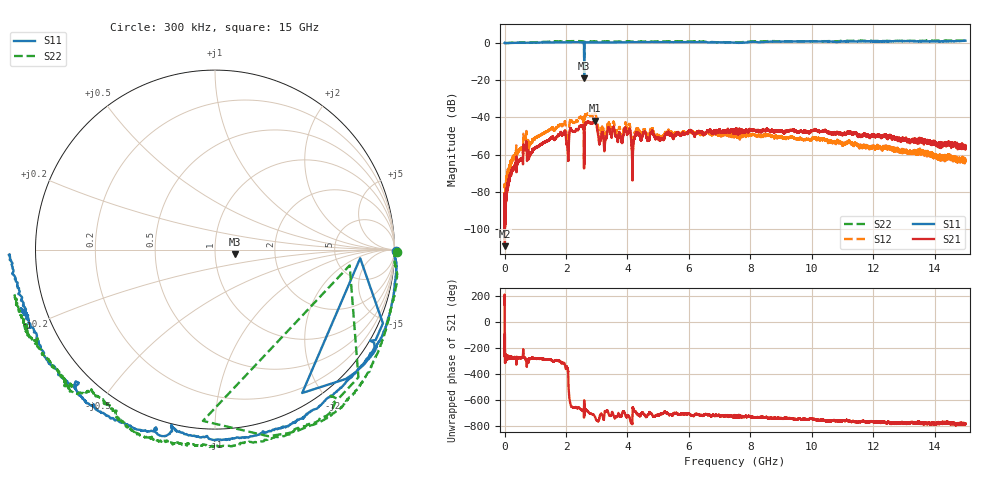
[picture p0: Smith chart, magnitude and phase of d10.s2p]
!Agilent Technologies,N5230C,SG49000117,A.08.50.07
!Agilent N5230C: A.08.50.07
!Date: Friday, May 17, 2024 04:46:28
!Correction: S11(Full 2 Port(1,2))
!S21(Full 2 Port(1,2))
!S12(Full 2 Port(1,2))
!S22(Full 2 Port(1,2))
!S2P File: Measurements: S11, S21, S12, S22:
# Hz S  MA  R 50
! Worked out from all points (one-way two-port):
!   20001 points, 300 kHz to 15 GHz, reference 50 ohm
!   highest |S21| = -41.73 dB at 2.944 GHz (marker M1); lowest = -109.3 dB at 8.55 MHz (marker M2)
!   lowest |S11| = -18.9 dB at 2.59 GHz (marker M3), VSWR 1.26, Z = 62.4 - j3.2 ohm
!   |S11| at or under -10 dB: 2.588929 GHz to 2.590731 GHz (1.802 MHz wide, 0.0696 % of centre)
!   |S22| runs from -16.4 to 1.4 dB; largest |S21 - S12| = 0.0072
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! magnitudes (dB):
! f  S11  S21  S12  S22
! 300 kHz  0.0  -86.3  -86.9  0.1
! 8.55 MHz  0.0  -109.3  -86.7  0.0
! 218.5 MHz  0.1  -70.2  -63.8  0.1
! 647.5 MHz  0.2  -56.9  -51.2  0.3
! 1.901 GHz  0.4  -48.8  -43.6  1.0
! 2.052 GHz  0.4  -57.6  -52.7  1.0
! 2.177 GHz  0.4  -46.9  -41.5  1.0
! 2.501 GHz  0.4  -44.3  -39.8  1.0
! 2.59 GHz  -18.9  -50.8  -50.7  -16.4
! 2.944 GHz  0.3  -41.7  -38.1  0.8
! 3.079 GHz  0.3  -54.0  -50.8  0.9
! 3.26 GHz  0.3  -55.2  -51.8  0.8
! 3.403 GHz  0.4  -46.0  -43.3  0.8
! 3.813 GHz  0.4  -53.3  -51.3  0.8
! 4.006 GHz  0.5  -48.2  -46.3  0.8
! 4.181 GHz  0.5  -57.4  -55.4  0.8
! 4.327 GHz  0.5  -48.7  -46.5  0.8
! 5 GHz  0.5  -51.3  -49.9  0.9
! 7.5 GHz  0.2  -48.8  -50.3  0.4
! 10 GHz  0.9  -47.2  -51.6  1.0
! 12.5 GHz  0.9  -50.1  -57.0  1.1
! 15 GHz  1.2  -55.1  -63.9  1.4
